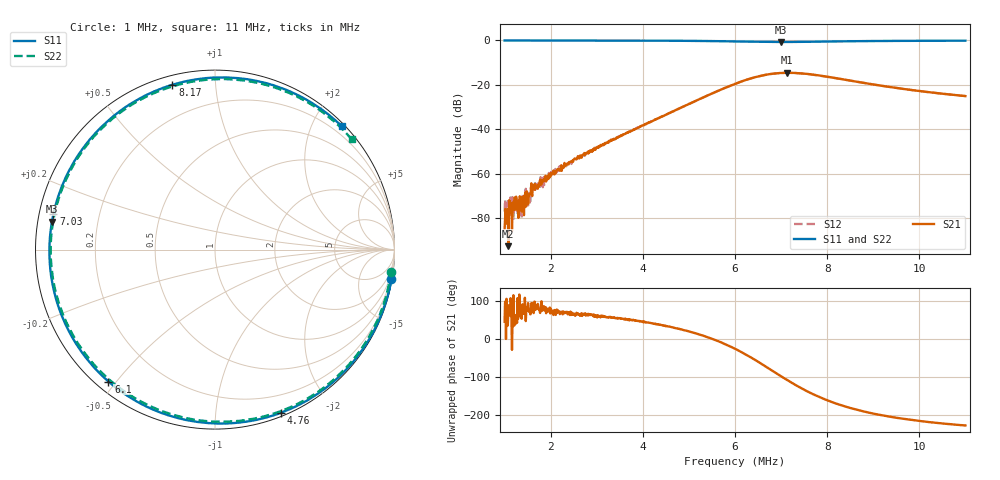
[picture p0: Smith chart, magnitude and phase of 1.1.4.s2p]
# MHz S DB R 50
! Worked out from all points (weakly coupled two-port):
!   1001 points, 1 MHz to 11 MHz, reference 50 ohm
!   highest |S21| = -14.55 dB at 7.12 MHz (marker M1); lowest = -92.5 dB at 1.08 MHz (marker M2)
!   lowest |S11| = -0.7 dB at 6.99 MHz (marker M3), VSWR 24.54, Z = 2.05 + j4.24 ohm
!   |S11| at or under -10 dB: nowhere
!   |S22| runs from -0.8 to -0.1 dB; largest |S21 - S12| = 0.0027
!   S11 on the Smith chart (normalised r, x): 1 MHz: 0, -12; 4.76 MHz: 0.03, -1.48; 6.1 MHz: 0.03, -0.48; 7.03 MHz: 0.04, +0.11; 8.17 MHz: 0.04, +0.77; 11 MHz: 0.05, +2.46
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1  -0.03 -9.5  -84.91 46.1  -76.92 -21.4  -0.11 -7.3
1.08  -0.03 -10.3  -92.45 73.8  -72.51 45.7  -0.11 -7.8
1.24  -0.03 -11.8  -73.24 40.5  -73.39 74.6  -0.11 -9.0
1.33  -0.03 -12.6  -70.01 71.5  -70.80 73.8  -0.12 -9.7
1.43  -0.03 -13.6  -69.65 67.7  -70.08 90.4  -0.11 -10.3
1.53  -0.04 -14.6  -69.89 72.4  -69.17 100.1  -0.11 -11.0
1.74  -0.04 -16.7  -65.75 78.3  -65.75 80.4  -0.11 -12.6
2.67  -0.03 -27.2  -52.74 68.7  -52.54 67.7  -0.09 -20.4
4.34  -0.12 -56.5  -34.93 38.8  -34.92 38.1  -0.16 -43.2
4.76  -0.17 -68.0  -30.91 27.9  -30.88 27.6  -0.18 -52.6
5.46  -0.30 -94.4  -24.22 3.0  -24.24 2.4  -0.29 -75.7
6  -0.46 -122.8  -19.53 -25.0  -19.54 -25.7  -0.45 -103.7
6.1  -0.49 -128.9  -18.76 -31.2  -18.76 -32.0  -0.49 -110.2
6.61  -0.66 -163.1  -15.68 -67.4  -15.68 -68.2  -0.69 -149.9
6.99  -0.71 170.3  -14.64 -96.7  -14.65 -97.4  -0.76 176.2
7.03  -0.71 167.6  -14.61 -99.8  -14.61 -100.5  -0.77 172.7
7.12  -0.70 161.5  -14.55 -106.5  -14.56 -107.3  -0.76 164.8
7.67  -0.60 128.2  -15.31 -143.2  -15.31 -144.0  -0.63 122.9
8.17  -0.46 104.5  -16.90 -168.2  -16.89 -169.0  -0.49 95.8
8.71  -0.34 85.4  -18.80 172.4  -18.81 171.6  -0.37 75.9
9.34  -0.24 69.3  -20.86 156.7  -20.88 155.9  -0.28 60.5
11  -0.13 44.3  -25.03 133.2  -25.03 132.4  -0.19 38.9
